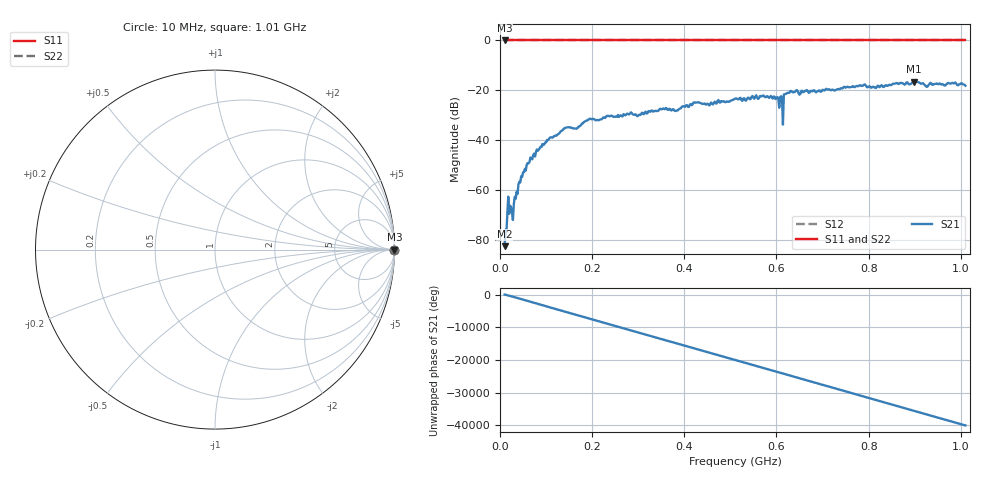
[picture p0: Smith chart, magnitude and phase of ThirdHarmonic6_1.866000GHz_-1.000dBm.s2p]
! 8/16/2025 10:33:47 PM
! C:\ANRITSUVNA\TEMP\TEMP.S2P
! CHANNEL.1
! TR.MEASUREMENT
! RAW.DATA
! RF.CORRECTION.OFF
! AVERAGING.OFF
! IF.BANDWIDTH: 5KHZ
! SWEEPTYPE:  FREQ.SWEEP(Linear)
! Reference Plane Port Info
! PORT:  PORT1  PORT2
! DISTANCE:  0  m  0  m
! TIME:  0  s  0  s
! PHASE.OFFSET:  0  deg.  0  deg.
! LOSS:  0  dB  0  dB
! REF.LOSS:  0  dB  0  dB
! REF.FREQ:  0  Hz  0  Hz
! Power Info
! POWER:  -20  dBm  -20  dBm
! EFF.POWER:  -20  dBm  -20  dBm
! SOURCE.ATTEN:  0  dB  0  dB
! TEST.ATTEN:  0  dB  0  dB
# GHZ S RI R 50.0
! FREQ.GHZ  S11RE  S11IM  S21RE  S21IM  S12RE  S12IM  S22RE  S22IM
!; PortSelection: Port_12
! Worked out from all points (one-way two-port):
!   501 points, 10 MHz to 1.01 GHz, reference 50 ohm
!   highest |S21| = -16.48 dB at 898 MHz (marker M1); lowest = -82.4 dB at 10 MHz (marker M2)
!   lowest |S11| = 0.0 dB at 10 MHz (marker M3)
!   |S11| at or under -10 dB: nowhere
!   |S22| runs from 0.0 to 0.0 dB; largest |S21 - S12| = 1.1
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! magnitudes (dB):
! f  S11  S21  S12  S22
! 10 MHz  0.0  -82.4  0.0  0.0
! 20 MHz  0.0  -69.4  0.0  0.0
! 24 MHz  0.0  -66.9  0.0  0.0
! 30 MHz  0.0  -65.6  0.0  0.0
! 44 MHz  0.0  -56.9  0.0  0.0
! 70 MHz  0.0  -47.6  0.0  0.0
! 106 MHz  0.0  -39.5  0.0  0.0
! 142 MHz  0.0  -35.0  0.0  0.0
! 178 MHz  0.0  -33.3  0.0  0.0
! 196 MHz  0.0  -31.3  0.0  0.0
! 344 MHz  0.0  -28.1  0.0  0.0
! 510 MHz  0.0  -23.3  0.0  0.0
! 592 MHz  0.0  -23.3  0.0  0.0
! 608 MHz  0.0  -22.7  0.0  0.0
! 610 MHz  0.0  -22.3  0.0  0.0
! 618 MHz  0.0  -21.5  0.0  0.0
! 620 MHz  0.0  -21.5  0.0  0.0
! 628 MHz  0.0  -20.9  0.0  0.0
! 678 MHz  0.0  -20.4  0.0  0.0
! 844 MHz  0.0  -17.8  0.0  0.0
! 898 MHz  0.0  -16.5  0.0  0.0
! 1.01 GHz  0.0  -18.1  0.0  0.0
